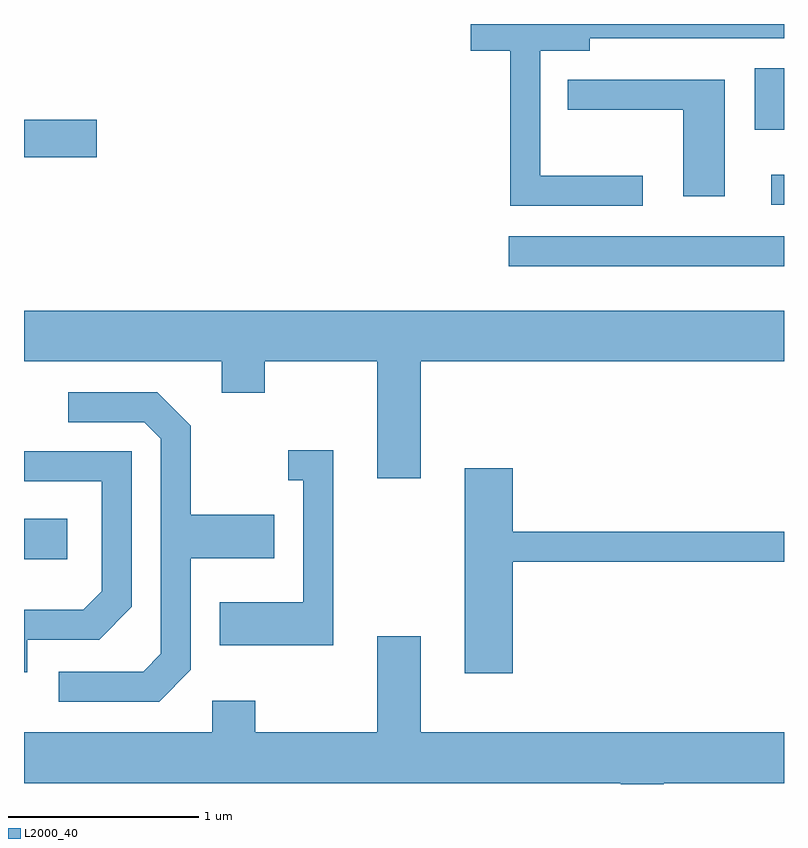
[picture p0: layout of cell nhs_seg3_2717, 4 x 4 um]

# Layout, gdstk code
import gdstk
lib = gdstk.Library(unit=1e-6, precision=1e-09)
def R(c, l, rs):  # rectangles x0, y0, x1, y1
    for r in rs: c.add(gdstk.rectangle(r[:2], r[2:], *l))
def P(c, l, *ps):  # polygons
    for p in ps: c.add(gdstk.Polygon(p, *l))
L2000_40 = (2000, 40)

nhs_seg3_2717 = lib.new_cell('nhs_seg3_2717')
R(nhs_seg3_2717, L2000_40, [(263.611,1247.076,263.839,1247.289), (266.163,1248.616,267.611,1248.774), (267.543,1248.941,267.611,1249.099), (263.611,1249.191,263.994,1249.389), (267.456,1249.336,267.611,1249.659)])
P(nhs_seg3_2717, L2000_40, [(266.868,1249.094),(266.329,1249.094),(266.329,1249.751),(266.589,1249.751),(266.589,1249.816),(267.611,1249.816),(267.611,1249.892),(265.961,1249.892),(265.961,1249.751),(266.171,1249.751),(266.171,1248.936),(266.868,1248.936)],
  [(267.299,1249.599),(266.473,1249.599),(266.473,1249.441),(267.081,1249.441),(267.081,1248.986),(267.299,1248.986)],
  [(265.699,1248.116),(267.611,1248.116),(267.611,1248.384),(263.611,1248.384),(263.611,1248.116),(264.651,1248.116),(264.651,1247.951),(264.879,1247.951),(264.879,1248.116),(265.471,1248.116),(265.471,1247.501),(265.699,1247.501)],
  [(264.489,1246.494),(264.489,1247.081),(264.929,1247.081),(264.929,1247.309),(264.489,1247.309),(264.489,1247.777),(264.312,1247.954),(263.843,1247.954),(263.843,1247.796),(264.244,1247.796),(264.331,1247.709),(264.331,1246.577),(264.239,1246.484),(263.793,1246.484),(263.793,1246.326),(264.322,1246.326)],
  [(265.239,1247.649),(265.003,1247.649),(265.003,1247.491),(265.081,1247.491),(265.081,1246.849),(264.641,1246.849),(264.641,1246.621),(265.239,1246.621)],
  [(263.629,1246.651),(264.007,1246.651),(264.179,1246.824),(264.179,1247.644),(263.611,1247.644),(263.611,1247.486),(264.021,1247.486),(264.021,1246.907),(263.924,1246.809),(263.611,1246.809),(263.611,1246.481),(263.629,1246.481)],
  [(266.184,1247.061),(267.611,1247.061),(267.611,1247.219),(266.184,1247.219),(266.184,1247.554),(265.931,1247.554),(265.931,1246.476),(266.184,1246.476)],
  [(266.979,1245.896),(267.611,1245.896),(267.611,1246.164),(265.699,1246.164),(265.699,1246.669),(265.471,1246.669),(265.471,1246.164),(264.829,1246.164),(264.829,1246.329),(264.601,1246.329),(264.601,1246.164),(263.611,1246.164),(263.611,1245.896),(266.751,1245.896),(266.751,1245.892),(266.979,1245.892)])

lib.write_gds('nhs_seg3_2717.gds')
